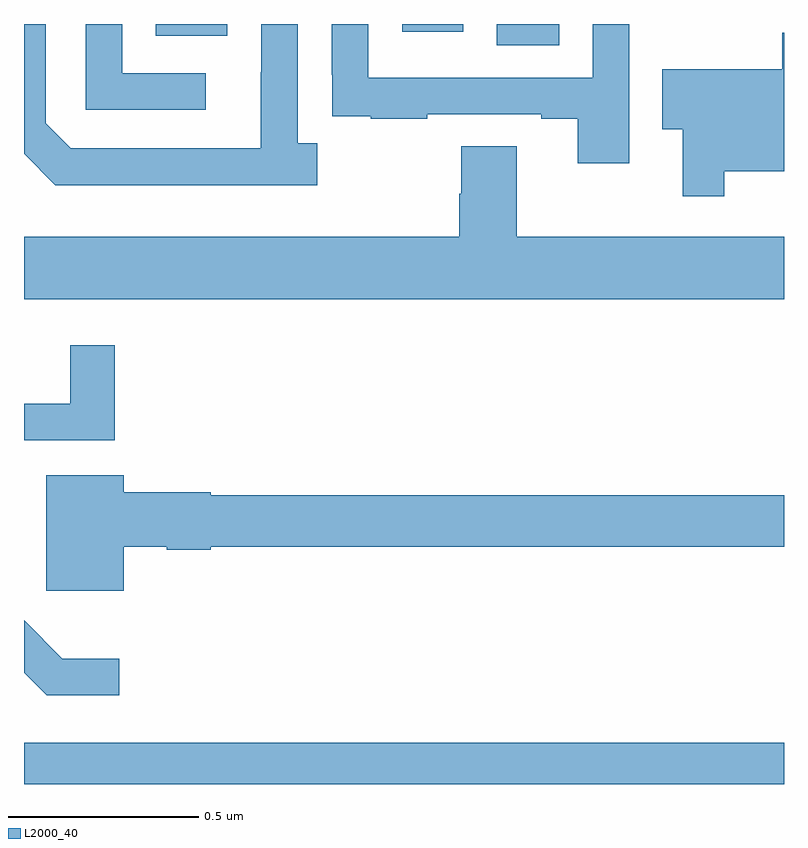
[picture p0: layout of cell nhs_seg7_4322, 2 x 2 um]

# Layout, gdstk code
import gdstk
lib = gdstk.Library(unit=1e-6, precision=1e-09)
def R(c, l, rs):  # rectangles x0, y0, x1, y1
    for r in rs: c.add(gdstk.rectangle(r[:2], r[2:], *l))
def P(c, l, *ps):  # polygons
    for p in ps: c.add(gdstk.Polygon(p, *l))
L2000_40 = (2000, 40)

nhs_seg7_4322 = lib.new_cell('nhs_seg7_4322')
R(nhs_seg7_4322, L2000_40, [(171,1006,173,1006.108), (172.244,1007.944,172.408,1008), (171.347,1007.969,171.535,1008), (171.995,1007.979,172.156,1008)])
P(nhs_seg7_4322, L2000_40, [(171.478,1007.871),(171.258,1007.871),(171.258,1008),(171.162,1008),(171.162,1007.775),(171.478,1007.775)],
  [(171.772,1007.686),(171.72,1007.686),(171.72,1008),(171.624,1008),(171.624,1007.873),(171.623,1007.873),(171.623,1007.673),(171.123,1007.673),(171.057,1007.739),(171.057,1008),(171,1008),(171,1007.658),(171.082,1007.576),(171.772,1007.576)],
  [(172.593,1008),(172.497,1008),(172.497,1007.859),(171.906,1007.859),(171.906,1008),(171.81,1008),(171.81,1007.866),(171.811,1007.866),(171.811,1007.757),(171.913,1007.757),(171.913,1007.751),(172.061,1007.751),(172.061,1007.763),(172.361,1007.763),(172.361,1007.751),(172.457,1007.751),(172.457,1007.634),(172.593,1007.634)],
  [(172.843,1007.612),(173,1007.612),(173,1007.977),(172.995,1007.977),(172.995,1007.881),(172.68,1007.881),(172.68,1007.723),(172.733,1007.723),(172.733,1007.547),(172.843,1007.547)],
  [(173,1007.44),(172.297,1007.44),(172.297,1007.678),(172.15,1007.678),(172.15,1007.553),(172.145,1007.553),(172.145,1007.44),(171,1007.44),(171,1007.276),(173,1007.276)],
  [(171.239,1007.155),(171.122,1007.155),(171.122,1007.001),(171,1007.001),(171,1006.905),(171.239,1006.905)],
  [(171.262,1006.624),(171.375,1006.624),(171.375,1006.616),(171.492,1006.616),(171.492,1006.624),(173,1006.624),(173,1006.76),(171.492,1006.76),(171.492,1006.768),(171.262,1006.768),(171.262,1006.813),(171.059,1006.813),(171.059,1006.508),(171.262,1006.508)],
  [(171.25,1006.33),(171.101,1006.33),(171,1006.431),(171,1006.293),(171.06,1006.233),(171.25,1006.233)])

lib.write_gds('nhs_seg7_4322.gds')
